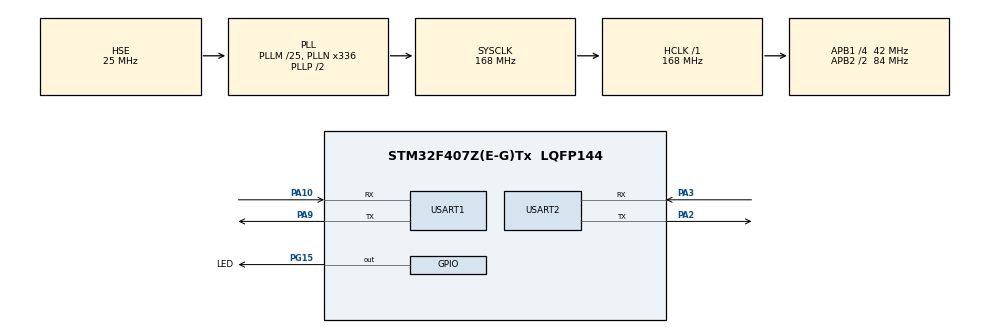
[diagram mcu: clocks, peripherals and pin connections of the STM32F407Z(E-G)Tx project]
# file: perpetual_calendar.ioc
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Mcu.Family=STM32F4
Mcu.Name=STM32F407Z(E-G)Tx
Mcu.Package=LQFP144
NVIC.PriorityGroup=NVIC_PRIORITYGROUP_4
NVIC.TIM2_IRQn=true\:0\:0\:false\:false\:true\:true\:true
NVIC.USART1_IRQn=true\:0\:0\:false\:false\:true\:true\:true
PA10.Mode=Asynchronous
PA10.Signal=USART1_RX
PA13.Mode=JTAG_4_pins
PA13.Signal=SYS_JTMS-SWDIO
PA14.Mode=JTAG_4_pins
PA14.Signal=SYS_JTCK-SWCLK
PA15.Mode=JTAG_4_pins
PA15.Signal=SYS_JTDI
PA2.Mode=Asynchronous
PA2.Signal=USART2_TX
PA3.Mode=Asynchronous
PA3.Signal=USART2_RX
PA9.Mode=Asynchronous
PA9.Signal=USART1_TX
PB3.Mode=JTAG_4_pins
PB3.Signal=SYS_JTDO-SWO
PG15.GPIO_Label=LED
PG15.Signal=GPIO_Output
PH0-OSC_IN.Mode=HSE-External-Oscillator
PH0-OSC_IN.Signal=RCC_OSC_IN
PH1-OSC_OUT.Mode=HSE-External-Oscillator
PH1-OSC_OUT.Signal=RCC_OSC_OUT
ProjectManager.HeapSize=0x200
ProjectManager.StackSize=0x400
ProjectManager.TargetToolchain=SW4STM32
RCC.48MHZClocksFreq_Value=84000000
RCC.AHBFreq_Value=168000000
RCC.APB1CLKDivider=RCC_HCLK_DIV4
RCC.APB1Freq_Value=42000000
RCC.APB1TimFreq_Value=84000000
RCC.APB2CLKDivider=RCC_HCLK_DIV2
RCC.APB2Freq_Value=84000000
RCC.APB2TimFreq_Value=168000000
RCC.CortexFreq_Value=168000000
RCC.HCLKFreq_Value=168000000
RCC.HSE_VALUE=25000000
RCC.HSI_VALUE=16000000
RCC.LSE_VALUE=32768
RCC.PLLM=25
RCC.PLLN=336
RCC.PLLSourceVirtual=RCC_PLLSOURCE_HSE
RCC.SYSCLKFreq_VALUE=168000000
RCC.SYSCLKSource=RCC_SYSCLKSOURCE_PLLCLK
RCC.VCOOutputFreq_Value=336000000
TIM2.Period=100000-1
TIM2.Prescaler=83
USART1.VirtualMode=VM_ASYNC
USART2.VirtualMode=VM_ASYNC
VP_TIM2_VS_ClockSourceINT.Mode=Internal
board=custom

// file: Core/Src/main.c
/* USER CODE BEGIN Header */
/**
  ******************************************************************************
  * @file           : main.c
  * @brief          : Main program body
  ******************************************************************************
  * @attention
  *
  * Copyright (c) 2021 STMicroelectronics.
  * All rights reserved.
  *
  * This software is licensed under terms that can be found in the LICENSE file
  * in the root directory of this software component.
  * If no LICENSE file comes with this software, it is provided AS-IS.
  *
  ******************************************************************************
  */
/* USER CODE END Header */
#include "main.h"
#include "tim.h"
#include "usart.h"
#include "gpio.h"
#include "stdio.h"
/* USER CODE BEGIN Includes */
#include "timer.h"
#include "dis.h"
/* USER CODE END Includes */

/* USER CODE BEGIN PTD */
#ifdef __GNUC__
#define PUTCHAR_PROTOTYPE int __io_putchar(int ch)
#else
#define PUTCHAR_PROTOTYPE int fputc(int ch, FILE *f)
#endif

PUTCHAR_PROTOTYPE {
    while ((USART2->SR & 0X40U) == 0);
    USART2->DR = (uint8_t) ch;
    return ch;
}

/* USER CODE END PTD */

/* USER CODE BEGIN PD */
extern Perpetual_calendar_st Perpetual_calendar;
/* USER CODE END PD */

void SystemClock_Config(void);

int main(void) {

    /* MCU Configuration--------------------------------------------------------*/

    /* Reset of all peripherals, Initializes the Flash interface and the Systick. */
    HAL_Init();

    /* Configure the system clock */
    SystemClock_Config();

    /* Initialize all configured peripherals */
    MX_GPIO_Init();
    MX_TIM2_Init();
    MX_USART1_UART_Init();
    MX_USART2_UART_Init();
    /* USER CODE BEGIN 2 */
    HAL_TIM_Base_Start_IT(&htim2);

    /* USER CODE END 2 */

    /* Infinite loop */
    while (1) {
        /* USER CODE BEGIN 3 */
        if (Perpetual_calendar.Second_dispose==1) {
            time_response();
        }
    }
    /* USER CODE END 3 */
}

void SystemClock_Config(void) {
    RCC_OscInitTypeDef RCC_OscInitStruct = {0};
    RCC_ClkInitTypeDef RCC_ClkInitStruct = {0};

    /** Configure the main internal regulator output voltage
    */
    __HAL_RCC_PWR_CLK_ENABLE();
    __HAL_PWR_VOLTAGESCALING_CONFIG(PWR_REGULATOR_VOLTAGE_SCALE1);
    /** Initializes the RCC Oscillators according to the specified parameters
    * in the RCC_OscInitTypeDef structure.
    */
    RCC_OscInitStruct.OscillatorType = RCC_OSCILLATORTYPE_HSE;
    RCC_OscInitStruct.HSEState = RCC_HSE_ON;
    RCC_OscInitStruct.PLL.PLLState = RCC_PLL_ON;
    RCC_OscInitStruct.PLL.PLLSource = RCC_PLLSOURCE_HSE;
    RCC_OscInitStruct.PLL.PLLM = 25;
    RCC_OscInitStruct.PLL.PLLN = 336;
    RCC_OscInitStruct.PLL.PLLP = RCC_PLLP_DIV2;
    RCC_OscInitStruct.PLL.PLLQ = 4;
    if (HAL_RCC_OscConfig(&RCC_OscInitStruct) != HAL_OK) {
        Error_Handler();
    }
    /** Initializes the CPU, AHB and APB buses clocks
    */
    RCC_ClkInitStruct.ClockType = RCC_CLOCKTYPE_HCLK | RCC_CLOCKTYPE_SYSCLK
                                  | RCC_CLOCKTYPE_PCLK1 | RCC_CLOCKTYPE_PCLK2;
    RCC_ClkInitStruct.SYSCLKSource = RCC_SYSCLKSOURCE_PLLCLK;
    RCC_ClkInitStruct.AHBCLKDivider = RCC_SYSCLK_DIV1;
    RCC_ClkInitStruct.APB1CLKDivider = RCC_HCLK_DIV4;
    RCC_ClkInitStruct.APB2CLKDivider = RCC_HCLK_DIV2;

    if (HAL_RCC_ClockConfig(&RCC_ClkInitStruct, FLASH_LATENCY_5) != HAL_OK) {
        Error_Handler();
    }
}

void Error_Handler(void) {
    __disable_irq();
    while (1) {
    }
}
